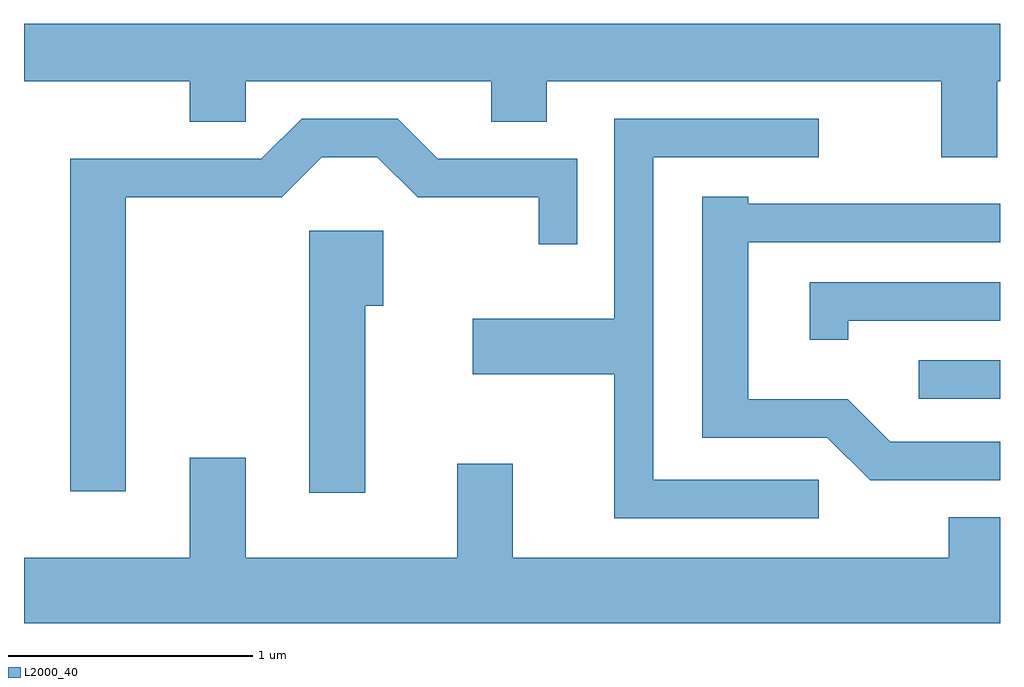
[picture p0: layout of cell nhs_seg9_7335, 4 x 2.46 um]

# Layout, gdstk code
import gdstk
lib = gdstk.Library(unit=1e-6, precision=1e-09)
def R(c, l, rs):  # rectangles x0, y0, x1, y1
    for r in rs: c.add(gdstk.rectangle(r[:2], r[2:], *l))
def P(c, l, *ps):  # polygons
    for p in ps: c.add(gdstk.Polygon(p, *l))
L2000_40 = (2000, 40)

nhs_seg9_7335 = lib.new_cell('nhs_seg9_7335')
R(nhs_seg9_7335, L2000_40, [(405.278,2054.896,405.611,2055.054)])
P(nhs_seg9_7335, L2000_40, [(405.599,2056.196),(405.611,2056.196),(405.611,2056.432),(401.611,2056.432),(401.611,2056.196),(402.291,2056.196),(402.291,2056.031),(402.519,2056.031),(402.519,2056.196),(403.526,2056.196),(403.526,2056.031),(403.754,2056.031),(403.754,2056.196),(405.371,2056.196),(405.371,2055.886),(405.599,2055.886)],
  [(404.868,2054.564),(404.189,2054.564),(404.189,2055.886),(404.868,2055.886),(404.868,2056.044),(404.031,2056.044),(404.031,2055.224),(403.451,2055.224),(403.451,2054.996),(404.031,2054.996),(404.031,2054.406),(404.868,2054.406)],
  [(402.029,2055.721),(402.667,2055.721),(402.832,2055.886),(403.059,2055.886),(403.224,2055.721),(403.721,2055.721),(403.721,2055.528),(403.879,2055.528),(403.879,2055.879),(403.307,2055.879),(403.142,2056.044),(402.749,2056.044),(402.584,2055.879),(401.801,2055.879),(401.801,2054.516),(402.029,2054.516)],
  [(405.611,2054.719),(405.162,2054.719),(404.987,2054.894),(404.579,2054.894),(404.579,2055.536),(405.611,2055.536),(405.611,2055.694),(404.579,2055.694),(404.579,2055.724),(404.391,2055.724),(404.391,2054.736),(404.904,2054.736),(405.079,2054.561),(405.611,2054.561)],
  [(403.009,2055.276),(403.084,2055.276),(403.084,2055.584),(402.781,2055.584),(402.781,2054.511),(403.009,2054.511)],
  [(404.989,2055.216),(405.611,2055.216),(405.611,2055.374),(404.831,2055.374),(404.831,2055.137),(404.989,2055.137)],
  [(405.611,2054.409),(405.401,2054.409),(405.401,2054.244),(403.614,2054.244),(403.614,2054.629),(403.386,2054.629),(403.386,2054.244),(402.519,2054.244),(402.519,2054.654),(402.291,2054.654),(402.291,2054.244),(401.611,2054.244),(401.611,2053.976),(405.611,2053.976)])

lib.write_gds('nhs_seg9_7335.gds')
